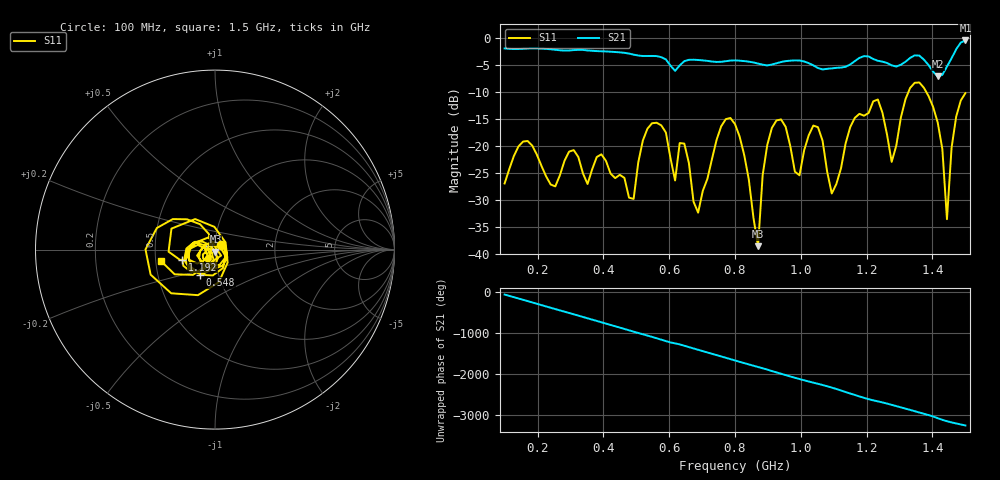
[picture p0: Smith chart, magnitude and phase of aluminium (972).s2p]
! NanoVNA-App
! Date: 2025-09-25 15:02:51
! Start: 100MHz Stop: 1,5GHz Points: 101
! S-Parameter data: F S11 S21 S12 S22
# Hz S RI R 50
!  Frequency  S11_Real  S11_Imag  S21_Real  S21_Imag  S12_Real  S12_Imag  S22_Real  S22_Imag
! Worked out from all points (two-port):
!   101 points, 100 MHz to 1.5 GHz, reference 50 ohm
!   highest |S21| = -0.45 dB at 1.5 GHz (marker M1); lowest = -7.1 dB at 1.416 GHz (marker M2)
!   |S21| within 3 dB of the highest: start of sweep to 569 MHz; 1.461 GHz to end of sweep (the widest 2 of 4)
!   lowest |S11| = -38.6 dB at 870 MHz (marker M3), VSWR 1.02, Z = 50.3 - j1.15 ohm
!   |S11| at or under -10 dB: start of sweep to 1.327 GHz; 1.381 GHz to end of sweep
!   S12 and S22 are empty: the file has one direction only
!   S11 on the Smith chart (normalised r, x): 100 MHz: 1.07, +0.06; 548 MHz: 0.82, -0.24; 1.192 GHz: 0.69, -0.08; 1.5 GHz: 0.53, -0.07
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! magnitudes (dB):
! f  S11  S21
! 100 MHz  -27.0  -1.9
! 170 MHz  -19.1  -1.9
! 338 MHz  -25.1  -2.2
! 492 MHz  -29.8  -3.1
! 548 MHz  -15.8  -3.3
! 576 MHz  -16.2  -3.5
! 646 MHz  -19.6  -4.3
! 688 MHz  -32.4  -4.1
! 800 MHz  -16.0  -4.1
! 870 MHz  -38.6  -4.7
! 912 MHz  -16.7  -4.9
! 996 MHz  -25.4  -4.2
! 1.038 GHz  -16.2  -5.1
! 1.094 GHz  -28.8  -5.6
! 1.192 GHz  -14.4  -3.3
! 1.234 GHz  -11.4  -4.2
! 1.276 GHz  -23.0  -5.1
! 1.346 GHz  -8.3  -3.2
! 1.416 GHz  -15.7  -7.1
! 1.444 GHz  -33.6  -5.3
! 1.458 GHz  -20.3  -3.8
! 1.5 GHz  -10.2  -0.4
